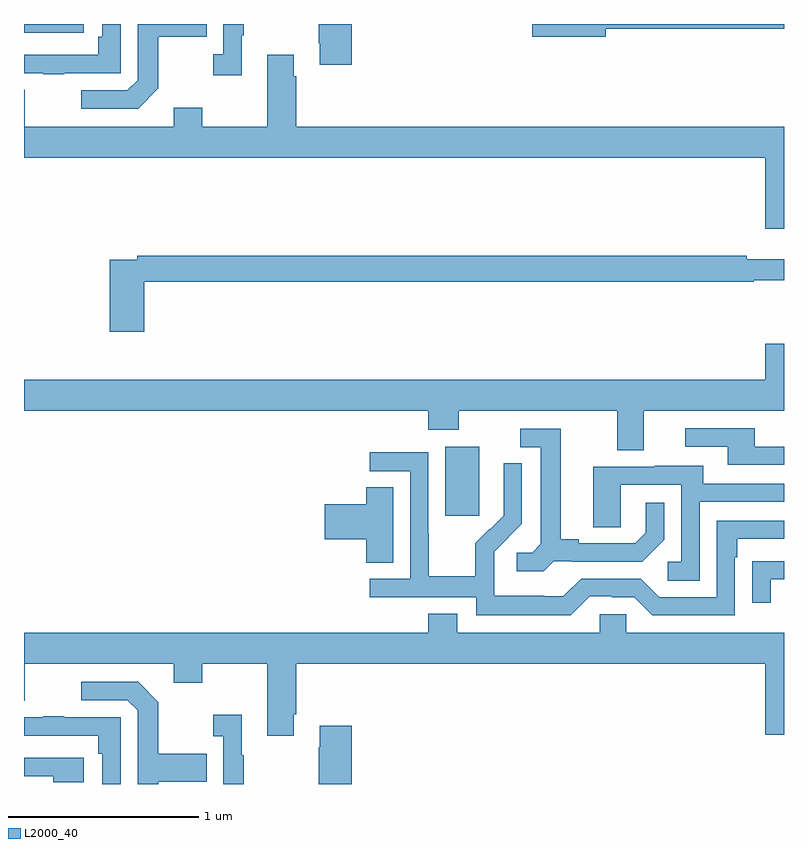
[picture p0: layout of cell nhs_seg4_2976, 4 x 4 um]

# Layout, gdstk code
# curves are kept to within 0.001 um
import gdstk
lib = gdstk.Library(unit=1e-6, precision=1e-09)
def R(c, l, rs):  # rectangles x0, y0, x1, y1
    for r in rs: c.add(gdstk.rectangle(r[:2], r[2:], *l))
def P(c, l, *ps):  # polygons
    for p in ps: c.add(gdstk.Polygon(p, *l))
L2000_40 = (2000, 40)

nhs_seg4_2976 = lib.new_cell('nhs_seg4_2976')
R(nhs_seg4_2976, L2000_40, [(271.217,752.313,271.396,752.674), (269,754.854,269.314,754.9)])
P(nhs_seg4_2976, L2000_40, [(272.062,754.876),(273,754.876),(273,754.9),(271.674,754.9),(271.674,754.834),(272.062,754.834)],
  [(270.725,754.9),(270.55,754.9),(270.55,754.798),(270.557,754.798),(270.557,754.686),(270.725,754.686)],
  [(270.145,754.841),(270.157,754.841),(270.157,754.9),(270.048,754.9),(270.048,754.742),(269.997,754.742),(269.997,754.629),(270.145,754.629)],
  [(269.707,754.561),(269.707,754.834),(269.963,754.834),(269.963,754.9),(269.598,754.9),(269.598,754.605),(269.544,754.551),(269.301,754.551),(269.301,754.455),(269.601,754.455)],
  [(269.213,754.641),(269.508,754.641),(269.508,754.9),(269.412,754.9),(269.412,754.834),(269.392,754.834),(269.392,754.737),(269,754.737),(269,754.641),(269.101,754.641),(269.101,754.636),(269.213,754.636)],
  [(273,754.36),(270.434,754.36),(270.434,754.625),(270.421,754.625),(270.421,754.738),(270.281,754.738),(270.281,754.36),(269.937,754.36),(269.937,754.459),(269.789,754.459),(269.789,754.36),(269.005,754.36),(269.005,754.555),(269,754.555),(269,754.196),(272.9,754.196),(272.9,753.822),(273,753.822)],
  [(269.633,753.544),(272.84,753.544),(272.84,753.552),(273,753.552),(273,753.661),(272.804,753.661),(272.804,753.68),(269.596,753.68),(269.596,753.66),(269.45,753.66),(269.45,753.279),(269.633,753.279)],
  [(272.263,752.864),(273,752.864),(273,753.217),(272.9,753.217),(272.9,753.028),(269,753.028),(269,752.864),(271.127,752.864),(271.127,752.765),(271.287,752.765),(271.287,752.864),(272.123,752.864),(272.123,752.656),(272.263,752.656)],
  [(273,752.676),(272.845,752.676),(272.845,752.772),(272.481,752.772),(272.481,752.676),(272.705,752.676),(272.705,752.58),(273,752.58)],
  [(271.788,752.073),(271.882,752.073),(271.882,752.07),(272.254,752.07),(272.37,752.186),(272.37,752.38),(272.273,752.38),(272.273,752.223),(272.216,752.166),(271.921,752.166),(271.921,752.189),(271.825,752.189),(271.825,752.769),(271.611,752.769),(271.611,752.673),(271.721,752.673),(271.721,752.165),(271.674,752.118),(271.593,752.118),(271.593,752.021),(271.736,752.021)],
  [(271.977,751.887),(272.093,751.887),(272.093,751.884),(272.211,751.884),(272.307,751.788),(272.742,751.788),(272.742,752.093),(272.755,752.093),(272.755,752.19),(273,752.19),(273,752.286),(272.646,752.286),(272.646,751.884),(272.343,751.884),(272.247,751.98),(271.932,751.98),(271.839,751.887),(271.739,751.887),(271.739,751.891),(271.476,751.891),(271.476,752.025),(271.474,752.025),(271.474,752.122),(271.62,752.27),(271.62,752.588),(271.524,752.588),(271.524,752.434),(271.526,752.434),(271.526,752.312),(271.455,752.241),(271.452,752.244),(271.375,752.167),(271.375,751.993),(271.131,751.993),(271.131,752.216),(271.128,752.216),(271.128,752.646),(270.819,752.646),(270.819,752.547),(271.032,752.547),(271.032,751.98),(270.819,751.98),(270.819,751.884),(271.38,751.884),(271.38,751.787),(271.877,751.787)],
  [(272.556,752.385),(273,752.385),(273,752.481),(272.575,752.481),(272.575,752.575),(272.321,752.575),(272.321,752.571),(271.997,752.571),(271.997,752.251),(272.142,752.251),(272.142,752.475),(272.46,752.475),(272.46,752.07),(272.388,752.07),(272.388,751.969),(272.556,751.969)],
  [(270.943,752.462),(270.8,752.462),(270.8,752.372),(270.582,752.372),(270.582,752.189),(270.8,752.189),(270.8,752.065),(270.943,752.065)],
  [(272.929,751.977),(273,751.977),(273,752.073),(272.935,752.073),(272.935,752.072),(272.833,752.072),(272.833,751.854),(272.929,751.854)],
  [(270.421,751.267),(270.434,751.267),(270.434,751.532),(272.9,751.532),(272.9,751.158),(273,751.158),(273,751.696),(272.169,751.696),(272.169,751.794),(272.031,751.794),(272.031,751.696),(271.279,751.696),(271.279,751.795),(271.127,751.795),(271.127,751.696),(269,751.696),(269,751.338),(269.005,751.338),(269.005,751.532),(269.789,751.532),(269.789,751.433),(269.937,751.433),(269.937,751.532),(270.281,751.532),(270.281,751.155),(270.421,751.155)],
  [(269.707,750.911),(269.963,750.911),(269.963,751.059),(269.707,751.059),(269.707,751.331),(269.601,751.437),(269.301,751.437),(269.301,751.341),(269.544,751.341),(269.598,751.287),(269.598,750.9),(269.707,750.9)],
  [(270.157,751.051),(270.145,751.051),(270.145,751.264),(269.997,751.264),(269.997,751.151),(270.048,751.151),(270.048,750.9),(270.157,750.9)],
  [(269.508,751.251),(269.213,751.251),(269.213,751.256),(269.101,751.256),(269.101,751.251),(269,751.251),(269,751.155),(269.392,751.155),(269.392,751.058),(269.412,751.058),(269.412,750.9),(269.508,750.9)],
  [(270.725,751.207),(270.557,751.207),(270.557,751.094),(270.55,751.094),(270.55,750.9),(270.725,750.9)],
  [(269.314,751.038),(269,751.038),(269,750.942),(269.153,750.942),(269.153,750.908),(269.314,750.908)])

lib.write_gds('nhs_seg4_2976.gds')
